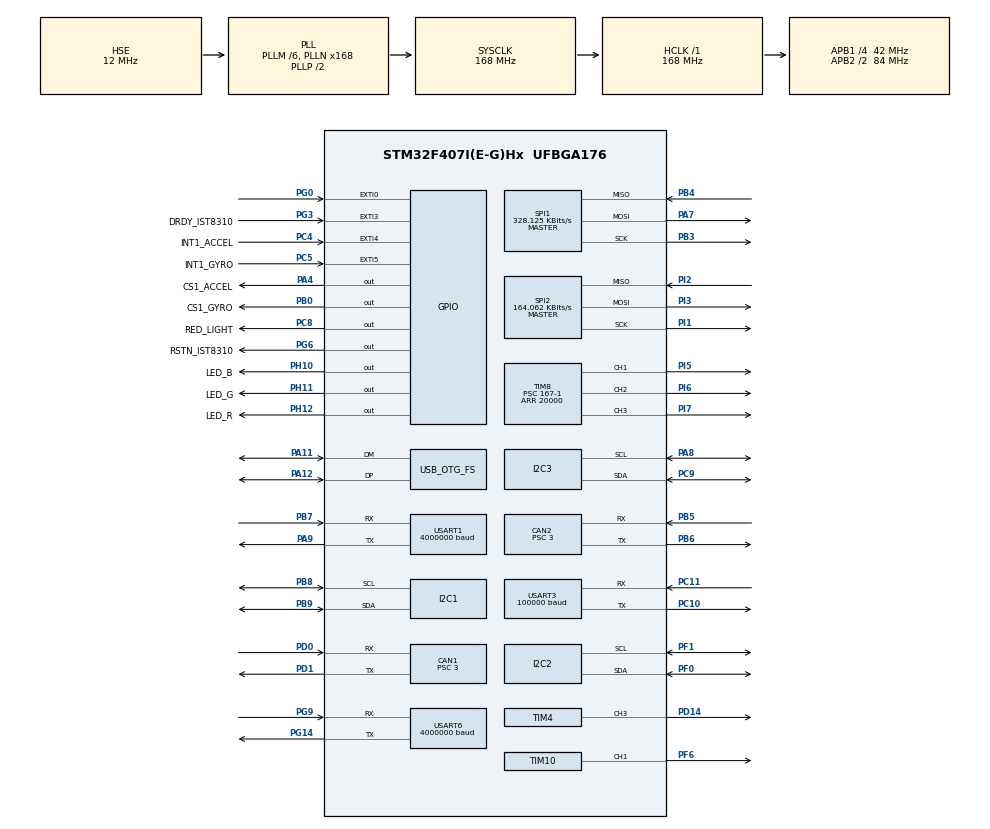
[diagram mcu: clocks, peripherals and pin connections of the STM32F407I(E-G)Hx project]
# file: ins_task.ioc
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CAN1.BS1=CAN_BS1_10TQ
CAN1.BS2=CAN_BS2_3TQ
CAN1.CalculateBaudRate=1000000
CAN1.CalculateTimeQuantum=71.42857142857143
CAN1.Prescaler=3
CAN2.BS1=CAN_BS1_10TQ
CAN2.BS2=CAN_BS2_3TQ
CAN2.CalculateBaudRate=1000000
CAN2.CalculateTimeQuantum=71.42857142857143
CAN2.Prescaler=3
Dma.I2C2_TX.7.Direction=DMA_MEMORY_TO_PERIPH
Dma.I2C2_TX.7.FIFOMode=DMA_FIFOMODE_DISABLE
Dma.I2C2_TX.7.Instance=DMA1_Stream7
Dma.I2C2_TX.7.MemDataAlignment=DMA_MDATAALIGN_BYTE
Dma.I2C2_TX.7.MemInc=DMA_MINC_ENABLE
Dma.I2C2_TX.7.Mode=DMA_NORMAL
Dma.I2C2_TX.7.PeriphDataAlignment=DMA_PDATAALIGN_BYTE
Dma.I2C2_TX.7.PeriphInc=DMA_PINC_DISABLE
Dma.I2C2_TX.7.Priority=DMA_PRIORITY_LOW
Dma.Request0=SPI1_RX
Dma.Request1=SPI1_TX
Dma.Request2=USART3_RX
Dma.Request3=USART1_RX
Dma.Request4=USART1_TX
Dma.Request5=USART6_RX
Dma.Request6=USART6_TX
Dma.Request7=I2C2_TX
Dma.SPI1_RX.0.Direction=DMA_PERIPH_TO_MEMORY
Dma.SPI1_RX.0.FIFOMode=DMA_FIFOMODE_DISABLE
Dma.SPI1_RX.0.Instance=DMA2_Stream2
Dma.SPI1_RX.0.MemDataAlignment=DMA_MDATAALIGN_BYTE
Dma.SPI1_RX.0.MemInc=DMA_MINC_ENABLE
Dma.SPI1_RX.0.Mode=DMA_NORMAL
Dma.SPI1_RX.0.PeriphDataAlignment=DMA_PDATAALIGN_BYTE
Dma.SPI1_RX.0.PeriphInc=DMA_PINC_DISABLE
Dma.SPI1_RX.0.Priority=DMA_PRIORITY_VERY_HIGH
Dma.SPI1_TX.1.Direction=DMA_MEMORY_TO_PERIPH
Dma.SPI1_TX.1.FIFOMode=DMA_FIFOMODE_DISABLE
Dma.SPI1_TX.1.Instance=DMA2_Stream3
Dma.SPI1_TX.1.MemDataAlignment=DMA_MDATAALIGN_BYTE
Dma.SPI1_TX.1.MemInc=DMA_MINC_ENABLE
Dma.SPI1_TX.1.Mode=DMA_NORMAL
Dma.SPI1_TX.1.PeriphDataAlignment=DMA_PDATAALIGN_BYTE
Dma.SPI1_TX.1.PeriphInc=DMA_PINC_DISABLE
Dma.SPI1_TX.1.Priority=DMA_PRIORITY_HIGH
Dma.USART1_RX.3.Direction=DMA_PERIPH_TO_MEMORY
Dma.USART1_RX.3.FIFOMode=DMA_FIFOMODE_DISABLE
Dma.USART1_RX.3.Instance=DMA2_Stream5
Dma.USART1_RX.3.MemDataAlignment=DMA_MDATAALIGN_BYTE
Dma.USART1_RX.3.MemInc=DMA_MINC_ENABLE
Dma.USART1_RX.3.Mode=DMA_CIRCULAR
Dma.USART1_RX.3.PeriphDataAlignment=DMA_PDATAALIGN_BYTE
Dma.USART1_RX.3.PeriphInc=DMA_PINC_DISABLE
Dma.USART1_RX.3.Priority=DMA_PRIORITY_LOW
Dma.USART1_TX.4.Direction=DMA_MEMORY_TO_PERIPH
Dma.USART1_TX.4.FIFOMode=DMA_FIFOMODE_DISABLE
Dma.USART1_TX.4.Instance=DMA2_Stream7
Dma.USART1_TX.4.MemDataAlignment=DMA_MDATAALIGN_BYTE
Dma.USART1_TX.4.MemInc=DMA_MINC_ENABLE
Dma.USART1_TX.4.Mode=DMA_NORMAL
Dma.USART1_TX.4.PeriphDataAlignment=DMA_PDATAALIGN_BYTE
Dma.USART1_TX.4.PeriphInc=DMA_PINC_DISABLE
Dma.USART1_TX.4.Priority=DMA_PRIORITY_LOW
Dma.USART3_RX.2.Direction=DMA_PERIPH_TO_MEMORY
Dma.USART3_RX.2.FIFOMode=DMA_FIFOMODE_DISABLE
Dma.USART3_RX.2.Instance=DMA1_Stream1
Dma.USART3_RX.2.MemDataAlignment=DMA_MDATAALIGN_BYTE
Dma.USART3_RX.2.MemInc=DMA_MINC_ENABLE
Dma.USART3_RX.2.Mode=DMA_CIRCULAR
Dma.USART3_RX.2.PeriphDataAlignment=DMA_PDATAALIGN_BYTE
Dma.USART3_RX.2.PeriphInc=DMA_PINC_DISABLE
Dma.USART3_RX.2.Priority=DMA_PRIORITY_LOW
Dma.USART6_RX.5.Direction=DMA_PERIPH_TO_MEMORY
Dma.USART6_RX.5.FIFOMode=DMA_FIFOMODE_DISABLE
Dma.USART6_RX.5.Instance=DMA2_Stream1
Dma.USART6_RX.5.MemDataAlignment=DMA_MDATAALIGN_BYTE
Dma.USART6_RX.5.MemInc=DMA_MINC_ENABLE
Dma.USART6_RX.5.Mode=DMA_NORMAL
Dma.USART6_RX.5.PeriphDataAlignment=DMA_PDATAALIGN_BYTE
Dma.USART6_RX.5.PeriphInc=DMA_PINC_DISABLE
Dma.USART6_RX.5.Priority=DMA_PRIORITY_LOW
Dma.USART6_TX.6.Direction=DMA_MEMORY_TO_PERIPH
Dma.USART6_TX.6.FIFOMode=DMA_FIFOMODE_DISABLE
Dma.USART6_TX.6.Instance=DMA2_Stream6
Dma.USART6_TX.6.MemDataAlignment=DMA_MDATAALIGN_BYTE
Dma.USART6_TX.6.MemInc=DMA_MINC_ENABLE
Dma.USART6_TX.6.Mode=DMA_NORMAL
Dma.USART6_TX.6.PeriphDataAlignment=DMA_PDATAALIGN_BYTE
Dma.USART6_TX.6.PeriphInc=DMA_PINC_DISABLE
Dma.USART6_TX.6.Priority=DMA_PRIORITY_LOW
FREERTOS.INCLUDE_eTaskGetState=1
FREERTOS.INCLUDE_pcTaskGetTaskName=1
FREERTOS.INCLUDE_uxTaskGetStackHighWaterMark=1
FREERTOS.INCLUDE_vTaskCleanUpResources=1
FREERTOS.INCLUDE_vTaskDelayUntil=1
FREERTOS.INCLUDE_xEventGroupSetBitFromISR=1
FREERTOS.INCLUDE_xQueueGetMutexHolder=1
FREERTOS.INCLUDE_xSemaphoreGetMutexHolder=1
FREERTOS.INCLUDE_xTaskAbortDelay=1
FREERTOS.INCLUDE_xTaskGetCurrentTaskHandle=1
FREERTOS.INCLUDE_xTaskGetHandle=1
FREERTOS.INCLUDE_xTimerPendFunctionCall=1
FREERTOS.Tasks01=PC_send,0,128,pc_send,As weak,NULL,Dynamic,NULL,NULL;Gimbal_task,2,512,gimbal_task,As weak,NULL,Dynamic,NULL,NULL;REFEREE,1,128,referee_usart_task,As weak,NULL,Dynamic,NULL,NULL;Ui_task,-1,256,UI_task,As weak,NULL,Dynamic,NULL,NULL;USB_task,-1,128,usb_task,As weak,NULL,Dynamic,NULL,NULL
FREERTOS.configTOTAL_HEAP_SIZE=24576
I2C2.I2C_Mode=I2C_Fast
I2C3.I2C_Mode=I2C_Fast
Mcu.Family=STM32F4
Mcu.Name=STM32F407I(E-G)Hx
Mcu.Package=UFBGA176
NVIC.CAN1_RX0_IRQn=true\:0\:0\:true\:false\:true\:false\:true\:true\:true
NVIC.CAN2_RX0_IRQn=true\:3\:0\:true\:false\:true\:false\:true\:true\:true
NVIC.DMA1_Stream1_IRQn=true\:5\:0\:true\:false\:true\:false\:false\:true\:true
NVIC.DMA1_Stream7_IRQn=true\:5\:0\:true\:false\:true\:false\:false\:true\:true
NVIC.DMA2_Stream1_IRQn=true\:5\:0\:true\:false\:true\:false\:false\:true\:true
NVIC.DMA2_Stream2_IRQn=true\:5\:0\:true\:false\:false\:false\:false\:true\:true
NVIC.DMA2_Stream3_IRQn=true\:5\:0\:true\:false\:false\:false\:false\:true\:true
NVIC.DMA2_Stream5_IRQn=true\:5\:0\:false\:false\:true\:true\:false\:true\:true
NVIC.DMA2_Stream6_IRQn=true\:5\:0\:true\:false\:true\:false\:false\:true\:true
NVIC.DMA2_Stream7_IRQn=true\:5\:0\:false\:false\:true\:true\:false\:true\:true
NVIC.EXTI0_IRQn=true\:6\:0\:true\:false\:true\:false\:true\:true\:true
NVIC.EXTI3_IRQn=true\:5\:0\:true\:false\:true\:false\:true\:true\:true
NVIC.EXTI4_IRQn=true\:5\:0\:true\:false\:true\:false\:true\:true\:true
NVIC.EXTI9_5_IRQn=true\:5\:0\:true\:false\:true\:false\:true\:true\:true
NVIC.OTG_FS_IRQn=true\:5\:0\:false\:false\:true\:false\:false\:true\:true
NVIC.PriorityGroup=NVIC_PRIORITYGROUP_4
NVIC.TIM1_BRK_TIM9_IRQn=true\:5\:0\:false\:false\:true\:false\:true\:true\:true
NVIC.TIM1_UP_TIM10_IRQn=true\:5\:0\:false\:false\:true\:false\:true\:true\:true
NVIC.TIM2_IRQn=true\:0\:0\:true\:false\:true\:false\:true\:true\:true
NVIC.TIM3_IRQn=true\:5\:0\:false\:false\:true\:true\:true\:true\:true
NVIC.TIM8_CC_IRQn=true\:5\:0\:false\:false\:true\:false\:true\:true\:true
NVIC.USART1_IRQn=true\:4\:0\:true\:false\:true\:false\:true\:true\:true
NVIC.USART3_IRQn=true\:3\:0\:true\:false\:true\:false\:true\:true\:true
NVIC.USART6_IRQn=true\:6\:0\:true\:false\:true\:false\:true\:true\:true
PA11.Mode=Device_Only
PA11.Signal=USB_OTG_FS_DM
PA12.Mode=Device_Only
PA12.Signal=USB_OTG_FS_DP
PA13.Mode=Serial_Wire
PA13.Signal=SYS_JTMS-SWDIO
PA14.Mode=Serial_Wire
PA14.Signal=SYS_JTCK-SWCLK
PA4.GPIO_Label=CS1_ACCEL
PA4.GPIO_PuPd=GPIO_PULLUP
PA4.GPIO_Speed=GPIO_SPEED_FREQ_HIGH
PA4.PinState=GPIO_PIN_SET
PA4.Signal=GPIO_Output
PA7.GPIO_PuPd=GPIO_PULLUP
PA7.Mode=Full_Duplex_Master
PA7.Signal=SPI1_MOSI
PA8.GPIO_Pu=GPIO_PULLUP
PA8.Mode=I2C
PA8.Signal=I2C3_SCL
PA9.Mode=Asynchronous
PA9.Signal=USART1_TX
PB0.GPIO_Label=CS1_GYRO
PB0.GPIO_PuPd=GPIO_PULLUP
PB0.GPIO_Speed=GPIO_SPEED_FREQ_HIGH
PB0.PinState=GPIO_PIN_SET
PB0.Signal=GPIO_Output
PB3.GPIO_PuPd=GPIO_PULLUP
PB3.Mode=Full_Duplex_Master
PB3.Signal=SPI1_SCK
PB4.GPIO_PuPd=GPIO_PULLUP
PB4.Mode=Full_Duplex_Master
PB4.Signal=SPI1_MISO
PB5.Mode=CAN_Activate
PB5.Signal=CAN2_RX
PB6.Mode=CAN_Activate
PB6.Signal=CAN2_TX
PB7.Mode=Asynchronous
PB7.Signal=USART1_RX
PB8.GPIO_Pu=GPIO_PULLUP
PB8.Mode=I2C
PB8.Signal=I2C1_SCL
PB9.GPIO_Pu=GPIO_PULLUP
PB9.Mode=I2C
PB9.Signal=I2C1_SDA
PC10.Mode=Asynchronous
PC10.Signal=USART3_TX
PC11.Mode=Asynchronous
PC11.Signal=USART3_RX
PC4.GPIO_Label=INT1_ACCEL
PC4.GPIO_ModeDefaultEXTI=GPIO_MODE_IT_FALLING
PC4.GPIO_PuPd=GPIO_PULLUP
PC4.Signal=GPXTI4
PC5.GPIO_Label=INT1_GYRO
PC5.GPIO_ModeDefaultEXTI=GPIO_MODE_IT_FALLING
PC5.GPIO_PuPd=GPIO_PULLUP
PC5.Signal=GPXTI5
PC8.GPIO_Label=RED_LIGHT
PC8.GPIO_ModeDefaultOutputPP=GPIO_MODE_OUTPUT_PP
PC8.GPIO_PuPd=GPIO_PULLUP
PC8.GPIO_Speed=GPIO_SPEED_FREQ_MEDIUM
PC8.PinState=GPIO_PIN_SET
PC8.Signal=GPIO_Output
PC9.GPIO_Pu=GPIO_PULLUP
PC9.Mode=I2C
PC9.Signal=I2C3_SDA
PD0.Mode=CAN_Activate
PD0.Signal=CAN1_RX
PD1.Mode=CAN_Activate
PD1.Signal=CAN1_TX
PD14.Signal=S_TIM4_CH3
PF0.GPIO_Pu=GPIO_PULLUP
PF0.Mode=I2C
PF0.Signal=I2C2_SDA
PF1.GPIO_Pu=GPIO_PULLUP
PF1.Mode=I2C
PF1.Signal=I2C2_SCL
PF6.GPIO_PuPd=GPIO_PULLUP
PF6.GPIO_Speed=GPIO_SPEED_FREQ_HIGH
PF6.Signal=S_TIM10_CH1
PG0.GPIO_ModeDefaultEXTI=GPIO_MODE_IT_FALLING
PG0.GPIO_PuPd=GPIO_PULLUP
PG0.Signal=GPXTI0
PG14.Mode=Asynchronous
PG14.Signal=USART6_TX
PG3.GPIO_Label=DRDY_IST8310
PG3.GPIO_ModeDefaultEXTI=GPIO_MODE_IT_FALLING
PG3.GPIO_PuPd=GPIO_PULLUP
PG3.Signal=GPXTI3
PG6.GPIO_Label=RSTN_IST8310
PG6.GPIO_PuPd=GPIO_PULLUP
PG6.GPIO_Speed=GPIO_SPEED_FREQ_MEDIUM
PG6.PinState=GPIO_PIN_SET
PG6.Signal=GPIO_Output
PG9.Mode=Asynchronous
PG9.Signal=USART6_RX
PH0-OSC_IN.Mode=HSE-External-Oscillator
PH0-OSC_IN.Signal=RCC_OSC_IN
PH1-OSC_OUT.Mode=HSE-External-Oscillator
PH1-OSC_OUT.Signal=RCC_OSC_OUT
PH10.GPIO_Label=LED_B
PH10.GPIO_ModeDefaultOutputPP=GPIO_MODE_OUTPUT_PP
PH10.GPIO_PuPd=GPIO_PULLUP
PH10.GPIO_Speed=GPIO_SPEED_FREQ_MEDIUM
PH10.PinState=GPIO_PIN_SET
PH10.Signal=GPIO_Output
PH11.GPIO_Label=LED_G
PH11.GPIO_ModeDefaultOutputPP=GPIO_MODE_OUTPUT_PP
PH11.GPIO_PuPd=GPIO_PULLUP
PH11.GPIO_Speed=GPIO_SPEED_FREQ_MEDIUM
PH11.PinState=GPIO_PIN_SET
PH11.Signal=GPIO_Output
PH12.GPIO_Label=LED_R
PH12.GPIO_ModeDefaultOutputPP=GPIO_MODE_OUTPUT_PP
PH12.GPIO_PuPd=GPIO_PULLUP
PH12.GPIO_Speed=GPIO_SPEED_FREQ_MEDIUM
PH12.PinState=GPIO_PIN_SET
PH12.Signal=GPIO_Output
PI1.Mode=Full_Duplex_Master
PI1.Signal=SPI2_SCK
PI2.Mode=Full_Duplex_Master
PI2.Signal=SPI2_MISO
PI3.Mode=Full_Duplex_Master
PI3.Signal=SPI2_MOSI
PI5.Signal=S_TIM8_CH1
PI6.Signal=S_TIM8_CH2
PI7.Signal=S_TIM8_CH3
ProjectManager.HeapSize=0x2000
ProjectManager.StackSize=0x2000
ProjectManager.TargetToolchain=MDK-ARM V5
RCC.48MHZClocksFreq_Value=48000000
RCC.AHBFreq_Value=168000000
RCC.APB1CLKDivider=RCC_HCLK_DIV4
RCC.APB1Freq_Value=42000000
RCC.APB1TimFreq_Value=84000000
RCC.APB2CLKDivider=RCC_HCLK_DIV2
RCC.APB2Freq_Value=84000000
RCC.APB2TimFreq_Value=168000000
RCC.CortexFreq_Value=168000000
RCC.HCLKFreq_Value=168000000
RCC.HSE_VALUE=12000000
RCC.HSI_VALUE=16000000
RCC.LSE_VALUE=32768
RCC.PLLM=6
RCC.PLLN=168
RCC.PLLQ=7
RCC.RCC_RTC_Clock_SourceVirtual=RCC_RTCCLKSOURCE_HSE_DIV30
RCC.RCC_RTC_Clock_Source_FROM_HSE=RCC_RTCCLKSOURCE_HSE_DIV30
RCC.SYSCLKFreq_VALUE=168000000
RCC.SYSCLKSource=RCC_SYSCLKSOURCE_PLLCLK
RCC.VCOOutputFreq_Value=336000000
SH.S_TIM10_CH1.0=TIM10_CH1,PWM Generation1 CH1
SH.S_TIM4_CH3.0=TIM4_CH3,PWM Generation3 CH3
SH.S_TIM8_CH1.0=TIM8_CH1,Output Compare1 CH1
SH.S_TIM8_CH2.0=TIM8_CH2,Output Compare2 CH2
SH.S_TIM8_CH3.0=TIM8_CH3,PWM Generation3 CH3
SPI1.BaudRatePrescaler=SPI_BAUDRATEPRESCALER_256
SPI1.CLKPhase=SPI_PHASE_2EDGE
SPI1.CLKPolarity=SPI_POLARITY_HIGH
SPI1.CalculateBaudRate=328.125 KBits/s
SPI1.Direction=SPI_DIRECTION_2LINES
SPI1.Mode=SPI_MODE_MASTER
SPI1.VirtualType=VM_MASTER
SPI2.BaudRatePrescaler=SPI_BAUDRATEPRESCALER_256
SPI2.CLKPhase=SPI_PHASE_2EDGE
SPI2.CLKPolarity=SPI_POLARITY_HIGH
SPI2.CalculateBaudRate=164.062 KBits/s
SPI2.Direction=SPI_DIRECTION_2LINES
SPI2.Mode=SPI_MODE_MASTER
SPI2.VirtualType=VM_MASTER
TIM1.Period=5000
TIM1.Prescaler=168-1
TIM10.Channel=TIM_CHANNEL_1
TIM10.Period=4999
TIM2.Period=1000000
TIM2.Prescaler=84-1
TIM3.Period=100-1
TIM3.Prescaler=83
TIM4.Channel-PWM\ Generation3\ CH3=TIM_CHANNEL_3
TIM4.Period=20999
TIM8.Channel-Output\ Compare1\ CH1=TIM_CHANNEL_1
TIM8.Channel-Output\ Compare2\ CH2=TIM_CHANNEL_2
TIM8.Channel-PWM\ Generation3\ CH3=TIM_CHANNEL_3
TIM8.Period=20000
TIM8.Prescaler=167-1
TIM8.Pulse-Output\ Compare1\ CH1=10000
USART1.BaudRate=4000000
USART1.VirtualMode=VM_ASYNC
USART3.BaudRate=100000
USART3.Parity=PARITY_EVEN
USART3.VirtualMode=VM_ASYNC
USART3.WordLength=WORDLENGTH_8B
USART6.BaudRate=4000000
USART6.VirtualMode=VM_ASYNC
USB_DEVICE.CLASS_NAME_FS=CDC
USB_DEVICE.VirtualMode-CDC_FS=Cdc
USB_DEVICE.VirtualModeFS=Cdc_FS
USB_OTG_FS.VirtualMode=Device_Only
VP_CRC_VS_CRC.Mode=CRC_Activate
VP_FREERTOS_VS_CMSIS_V1.Mode=CMSIS_V1
VP_TIM10_VS_ClockSourceINT.Mode=Enable_Timer
VP_TIM1_VS_ClockSourceINT.Mode=Internal
VP_TIM2_VS_ClockSourceINT.Mode=Internal
VP_TIM3_VS_ClockSourceINT.Mode=Internal
VP_TIM5_VS_ClockSourceINT.Mode=Internal
VP_TIM8_VS_ClockSourceINT.Mode=Internal
VP_USB_DEVICE_VS_USB_DEVICE_CDC_FS.Mode=CDC_FS
board=custom

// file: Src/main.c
/* USER CODE BEGIN Header */
/**
  ******************************************************************************
  * @file           : main.c
  * @brief          : Main program body
  ******************************************************************************
  * @attention
  *
  * <h2><center>&copy; Copyright (c) 2019 STMicroelectronics.
  * All rights reserved.</center></h2>
  *
  * This software component is licensed by ST under Ultimate Liberty license
  * SLA0044, the "License"; You may not use this file except in compliance with
  * the License. You may obtain a copy of the License at:
  *                             www.st.com/SLA0044
  *
  ******************************************************************************
  */
/* USER CODE END Header */
#include "main.h"
#include "cmsis_os.h"
#include "can.h"
#include "crc.h"
#include "dma.h"
#include "i2c.h"
#include "spi.h"
#include "tim.h"
#include "usart.h"
#include "usb_device.h"
#include "gpio.h"

/* USER CODE BEGIN Includes */
#include "ins_task.h"
#include "bsp_delay.h"
#include "bsp_usart.h"
#include "remote_control.h"
#include "bsp_can.h"
#include "pid.h"
#include "string.h"
#include "CAN_receive.h"
#include "gimbal_task.h"
#include "oled_task.h"
#include "remote_control.h"
#include "stdio.h"
#include "OLED.h"
#include "user_lib.h"
#include "decet_task.h"
#include "fire_control_action.h"
#include "referee.h"
#include "usbd_cdc_if.h"
#include "bsp_flash.h"
#include "OLED.h"
#include "bsp_dwt.h"
#include "BMI088driver.h"
/* USER CODE END Includes */

/* USER CODE BEGIN PTD */
uint8_t sbus_rx_buffer[18]; 		//声明遥控器缓存数组
/* A1 Go1 电机转换 */
uint8_t A1_MOTOR = 1;
/* USER CODE END PTD */

void SystemClock_Config(void);
void MX_FREERTOS_Init(void);

/* USER CODE BEGIN 0 */
#define FLASH_DATA_LENGHT   19
uint8_t after_erase_data[FLASH_DATA_LENGHT];
uint8_t write_data[FLASH_DATA_LENGHT] = "The spear of Ares\r\n";
uint8_t after_write_data[FLASH_DATA_LENGHT];
/* USER CODE END 0 */

int main(void)
{

    /* MCU Configuration--------------------------------------------------------*/

    /* Reset of all peripherals, Initializes the Flash interface and the Systick. */

   	HAL_Init();

    /* Configure the system clock

	*/
    SystemClock_Config();

    /* Initialize all configured peripherals */
    MX_GPIO_Init();
    MX_DMA_Init();
    MX_SPI1_Init();
    MX_TIM5_Init();
    MX_TIM10_Init();
    MX_CAN1_Init();
    MX_CAN2_Init();
    MX_USART3_UART_Init();
    MX_SPI2_Init();
    MX_TIM1_Init();
    MX_TIM2_Init();
    MX_TIM8_Init();
    MX_USART1_UART_Init();
    MX_CRC_Init();
    MX_USART6_UART_Init();
    MX_I2C1_Init();
    MX_I2C2_Init();
    MX_I2C3_Init();
    MX_TIM3_Init();
    MX_TIM4_Init();
    /* USER CODE BEGIN 2 */
    delay_init();
    HAL_TIM_Base_Start_IT(&htim2);
    HAL_TIM_Base_Start_IT(&htim4);
    HAL_TIM_Base_Start_IT(&htim8);
    HAL_TIM_PWM_Start(&htim8,TIM_CHANNEL_3);
    HAL_TIM_PWM_Start(&htim4,TIM_CHANNEL_3);
    remote_control_init();
    can_filter_init();
    //OLED_init();
    if(A1_MOTOR == 1)
    {
        usart1_init(usart1_A1_buf[0],usart1_A1_buf[1], 78);
        HAL_Delay(10);
        usart6_init(usart6_A1_buf[0],usart6_A1_buf[1], 78);
        HAL_Delay(10);
    }
    else
    {
        usart1_init(usart1_buf[0],usart1_buf[1], 16);
        HAL_Delay(10);
        usart6_init(usart6_buf[0],usart6_buf[1], 16);
        HAL_Delay(10);
    }

    __HAL_UART_ENABLE_IT(&huart1, UART_IT_IDLE);//开启串口空闲中断
    HAL_Delay(10);
    __HAL_UART_ENABLE_IT(&huart6, UART_IT_IDLE);//开启串口空闲中断
    HAL_Delay(10);
//	HAL_Delay(2000);
    DWT_Init(168);
    while (BMI088_init(&hspi1,0) != BMI088_NO_ERROR)
    {};
    //while (super_cap.Value_Cap <24.0f)
//

    /* USER CODE END 2 */

    /* Call init function for freertos objects (in freertos.c) */
    MX_FREERTOS_Init();

    /* Start scheduler */
    osKernelStart();

    /* We should never get here as control is now taken by the scheduler */
    /* Infinite loop */
    while (1)
    {

    }
}

void SystemClock_Config(void)
{
    RCC_OscInitTypeDef RCC_OscInitStruct = {0};
    RCC_ClkInitTypeDef RCC_ClkInitStruct = {0};

    /** Configure the main internal regulator output voltage
    */
    __HAL_RCC_PWR_CLK_ENABLE();
    __HAL_PWR_VOLTAGESCALING_CONFIG(PWR_REGULATOR_VOLTAGE_SCALE1);

    /** Initializes the RCC Oscillators according to the specified parameters
    * in the RCC_OscInitTypeDef structure.
    */
    RCC_OscInitStruct.OscillatorType = RCC_OSCILLATORTYPE_HSE;
    RCC_OscInitStruct.HSEState = RCC_HSE_ON;
    RCC_OscInitStruct.PLL.PLLState = RCC_PLL_ON;
    RCC_OscInitStruct.PLL.PLLSource = RCC_PLLSOURCE_HSE;
    RCC_OscInitStruct.PLL.PLLM = 6;
    RCC_OscInitStruct.PLL.PLLN = 168;
    RCC_OscInitStruct.PLL.PLLP = RCC_PLLP_DIV2;
    RCC_OscInitStruct.PLL.PLLQ = 7;
    if (HAL_RCC_OscConfig(&RCC_OscInitStruct) != HAL_OK)
    {
        Error_Handler();
    }

    /** Initializes the CPU, AHB and APB buses clocks
    */
    RCC_ClkInitStruct.ClockType = RCC_CLOCKTYPE_HCLK|RCC_CLOCKTYPE_SYSCLK
                                  |RCC_CLOCKTYPE_PCLK1|RCC_CLOCKTYPE_PCLK2;
    RCC_ClkInitStruct.SYSCLKSource = RCC_SYSCLKSOURCE_PLLCLK;
    RCC_ClkInitStruct.AHBCLKDivider = RCC_SYSCLK_DIV1;
    RCC_ClkInitStruct.APB1CLKDivider = RCC_HCLK_DIV4;
    RCC_ClkInitStruct.APB2CLKDivider = RCC_HCLK_DIV2;

    if (HAL_RCC_ClockConfig(&RCC_ClkInitStruct, FLASH_LATENCY_5) != HAL_OK)
    {
        Error_Handler();
    }
}

/* USER CODE BEGIN 4 */
void HAL_TIM_PeriodElapsedCallback(TIM_HandleTypeDef *htim)//定时器中断
{
    if(htim->Instance==TIM1)//1s200次
    {

    }
    if(htim->Instance==TIM2)//1s一次
    {
        Hz_detection_task();
    }
    if(htim->Instance==TIM3)//0.1ms一次
    {
        Time.main_Time++;
    }
}
void vTaskFunction( void * pvParameters )
{
    TickType_t xLastWakeTime;
    const TickType_t xFrequency = 10;

    // Initialise the xLastWakeTime variable with the current time.
    xLastWakeTime = xTaskGetTickCount();

    for( ;; )
    {
        // Wait for the next cycle.
        vTaskDelayUntil( &xLastWakeTime, xFrequency );
        // Perform action here.
    }
}
/* USER CODE END 4 */

void Error_Handler(void)
{
}

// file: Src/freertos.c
/* USER CODE BEGIN Header */
/**
  ******************************************************************************
  * File Name          : freertos.c
  * Description        : Code for freertos applications
  ******************************************************************************
  * @attention
  *
  * <h2><center>&copy; Copyright (c) 2019 STMicroelectronics.
  * All rights reserved.</center></h2>
  *
  * This software component is licensed by ST under Ultimate Liberty license
  * SLA0044, the "License"; You may not use this file except in compliance with
  * the License. You may obtain a copy of the License at:
  *                             www.st.com/SLA0044
  *
  ******************************************************************************
  */
/* USER CODE END Header */

#include "FreeRTOS.h"
#include "task.h"
#include "main.h"
#include "cmsis_os.h"

/* USER CODE BEGIN Includes */
#include "UI_task.h"
#include "ins_task.h"
#include "referee_usart_task.h"
#include "led_flow_task.h"
#include "gimbal_task.h"
//#include "calibrate_task.h"
/* USER CODE END Includes */

/* USER CODE BEGIN PTD */

osThreadId imuTaskHandle;
osThreadId led_RGB_flow_handle;
osThreadId calibrate_tast_handle;
/* USER CODE END PTD */

osThreadId PC_sendHandle;
osThreadId Gimbal_taskHandle;
osThreadId REFEREEHandle;
osThreadId Ui_taskHandle;
osThreadId USB_taskHandle;

void pc_send(void const * argument);
void gimbal_task(void const * argument);
void referee_usart_task(void const * argument);
void UI_task(void const * argument);
void usb_task(void const * argument);

extern void MX_USB_DEVICE_Init(void);
void MX_FREERTOS_Init(void); /* (MISRA C 2004 rule 8.1) */

/* GetIdleTaskMemory prototype (linked to static allocation support) */
void vApplicationGetIdleTaskMemory( StaticTask_t **ppxIdleTaskTCBBuffer, StackType_t **ppxIdleTaskStackBuffer, uint32_t *pulIdleTaskStackSize );

/* GetTimerTaskMemory prototype (linked to static allocation support) */
void vApplicationGetTimerTaskMemory( StaticTask_t **ppxTimerTaskTCBBuffer, StackType_t **ppxTimerTaskStackBuffer, uint32_t *pulTimerTaskStackSize );

/* USER CODE BEGIN GET_IDLE_TASK_MEMORY */
static StaticTask_t xIdleTaskTCBBuffer;
static StackType_t xIdleStack[configMINIMAL_STACK_SIZE];

void vApplicationGetIdleTaskMemory( StaticTask_t **ppxIdleTaskTCBBuffer, StackType_t **ppxIdleTaskStackBuffer, uint32_t *pulIdleTaskStackSize )
{
    *ppxIdleTaskTCBBuffer = &xIdleTaskTCBBuffer;
    *ppxIdleTaskStackBuffer = &xIdleStack[0];
    *pulIdleTaskStackSize = configMINIMAL_STACK_SIZE;
    /* place for user code */
}
/* USER CODE END GET_IDLE_TASK_MEMORY */

/* USER CODE BEGIN GET_TIMER_TASK_MEMORY */
static StaticTask_t xTimerTaskTCBBuffer;
static StackType_t xTimerStack[configTIMER_TASK_STACK_DEPTH];

void vApplicationGetTimerTaskMemory( StaticTask_t **ppxTimerTaskTCBBuffer, StackType_t **ppxTimerTaskStackBuffer, uint32_t *pulTimerTaskStackSize )
{
    *ppxTimerTaskTCBBuffer = &xTimerTaskTCBBuffer;
    *ppxTimerTaskStackBuffer = &xTimerStack[0];
    *pulTimerTaskStackSize = configTIMER_TASK_STACK_DEPTH;
    /* place for user code */
}
/* USER CODE END GET_TIMER_TASK_MEMORY */

void MX_FREERTOS_Init(void) {

    /* Create the thread(s) */
    /* definition and creation of PC_send */
//  osThreadDef(PC_send, pc_send, osPriorityNormal, 0, 128);
//  PC_sendHandle = osThreadCreate(osThread(PC_send), NULL);

    /* definition and creation of Gimbal_task */
    osThreadDef(Gimbal_task, gimbal_task, osPriorityHigh, 0, 512);
    Gimbal_taskHandle = osThreadCreate(osThread(Gimbal_task), NULL);

//  /* definition and creation of REFEREE */
//  osThreadDef(REFEREE, referee_usart_task, osPriorityAboveNormal, 0, 128);
//  REFEREEHandle = osThreadCreate(osThread(REFEREE), NULL);

    /* definition and creation of Ui_task */
//  osThreadDef(Ui_task, UI_task, osPriorityBelowNormal, 0, 256);
//  Ui_taskHandle = osThreadCreate(osThread(Ui_task), NULL);

    /* definition and creation of USB_task */
    osThreadDef(USB_task, usb_task, osPriorityBelowNormal, 0, 128);
    USB_taskHandle = osThreadCreate(osThread(USB_task), NULL);

    /* USER CODE BEGIN RTOS_THREADS */
    /* add threads, ... */
    osThreadDef(imuTask, INS_Task, osPriorityRealtime, 0, 1024);
    imuTaskHandle = osThreadCreate(osThread(imuTask), NULL);

    osThreadDef(led, led_RGB_flow_task, osPriorityLow, 0, 256);
    led_RGB_flow_handle = osThreadCreate(osThread(led), NULL);

//	osThreadDef(cali, calibrate_task, osPriorityNormal, 0, 512);
//	calibrate_tast_handle = osThreadCreate(osThread(cali), NULL);//시攣

    /* USER CODE END RTOS_THREADS */

}

__weak void pc_send(void const * argument)
{
    /* init code for USB_DEVICE */
    MX_USB_DEVICE_Init();
    for(;;)
    {
        osDelay(1);
    }
}

__weak void gimbal_task(void const * argument)
{
    for(;;)
    {
        osDelay(1);
    }
}

__weak void referee_usart_task(void const * argument)
{
    for(;;)
    {
        osDelay(1);
    }
}

__weak void UI_task(void const * argument)
{
    for(;;)
    {
        osDelay(1);
    }
}

__weak void usb_task(void const * argument)
{
    for(;;)
    {
        osDelay(1);
    }
}
